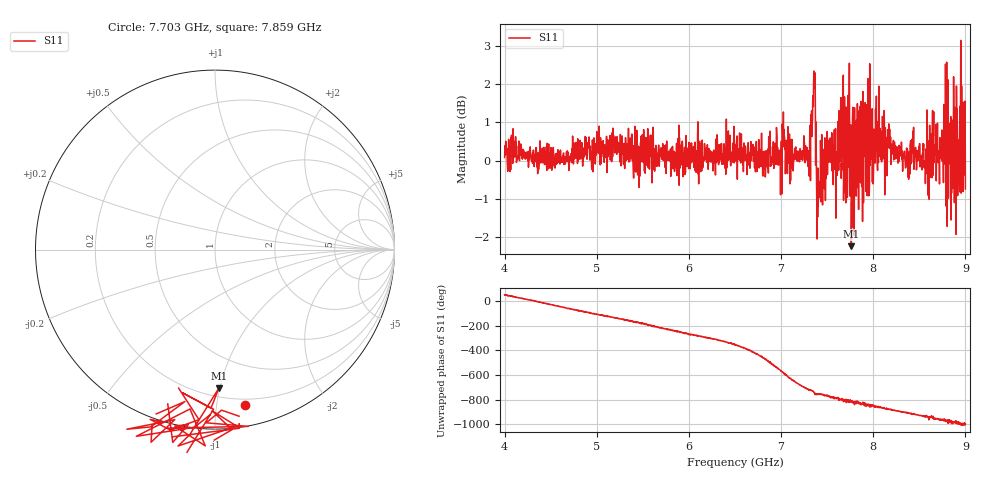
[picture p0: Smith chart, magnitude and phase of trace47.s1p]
! Created with skrf 1.8.0 (http://scikit-rf.org).
# Hz S RI R 50.0
!freq ReS11 ImS11
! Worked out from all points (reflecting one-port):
!   1601 points, 4 GHz to 9 GHz, reference 50 ohm
!   lowest |S11| = -2.2 dB at 7.762 GHz (marker M1), VSWR 7.81, Z = 12.9 - j49.7 ohm
!   phase of S11 starts at 51 deg and turns -1050 deg over the sweep
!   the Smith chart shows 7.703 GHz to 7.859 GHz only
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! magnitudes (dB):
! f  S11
! 4 GHz  0.1
! 4.625 GHz  0.0
! 5.25 GHz  0.0
! 5.875 GHz  0.1
! 6.5 GHz  0.2
! 6.819 GHz  0.0
! 6.931 GHz  0.2
! 6.984 GHz  0.1
! 7.038 GHz  0.6
! 7.125 GHz  0.1
! 7.294 GHz  -0.2
! 7.347 GHz  1.6
! 7.369 GHz  2.3
! 7.4 GHz  -0.2
! 7.412 GHz  -1.0
! 7.525 GHz  0.6
! 7.619 GHz  1.0
! 7.65 GHz  1.6
! 7.75 GHz  -0.9
! 7.762 GHz  -2.2
! 7.775 GHz  1.1
! 7.844 GHz  0.4
! 7.997 GHz  0.7
! 8.05 GHz  1.0
! 8.375 GHz  0.2
! 8.919 GHz  -0.4
! 8.959 GHz  2.0
! 9 GHz  -0.7
